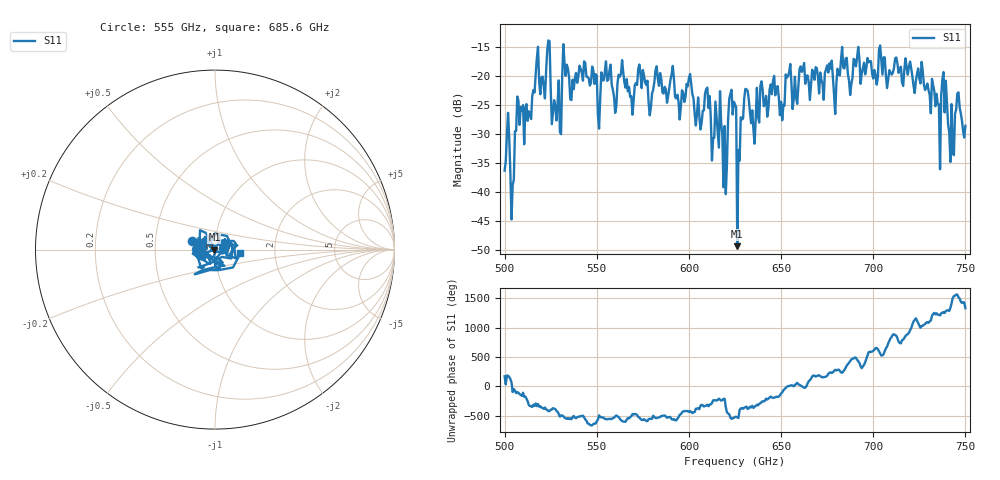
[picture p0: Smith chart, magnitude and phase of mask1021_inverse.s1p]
!Created with skrf (http://scikit-rf.org).
# GHz S MA R 50.0
!freq magS11 angS11
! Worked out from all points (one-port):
!   401 points, 500 GHz to 750 GHz, reference 50 ohm
!   lowest |S11| = -49.3 dB at 626.2 GHz (marker M1), VSWR 1.01, Z = 49.7 - j0.0541 ohm
!   |S11| at or under -10 dB: start of sweep to end of sweep
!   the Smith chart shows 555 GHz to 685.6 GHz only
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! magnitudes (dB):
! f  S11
! 500 GHz  -36.3
! 501.9 GHz  -26.4
! 504.4 GHz  -38.8
! 506.9 GHz  -23.6
! 513.8 GHz  -26.4
! 517.5 GHz  -16.9
! 523.8 GHz  -13.9
! 526.9 GHz  -24.2
! 531.2 GHz  -20.1
! 533.1 GHz  -20.0
! 551.9 GHz  -23.9
! 562.5 GHz  -20.1
! 593.8 GHz  -23.2
! 610 GHz  -22.0
! 619.4 GHz  -28.6
! 623.1 GHz  -22.4
! 625 GHz  -24.9
! 626.2 GHz  -49.3
! 631.2 GHz  -22.3
! 635 GHz  -29.2
! 656.2 GHz  -25.7
! 687.5 GHz  -23.3
! 718.8 GHz  -19.8
! 735 GHz  -24.8
! 738.8 GHz  -26.3
! 742.5 GHz  -24.8
! 745.6 GHz  -23.0
! 750 GHz  -28.6
